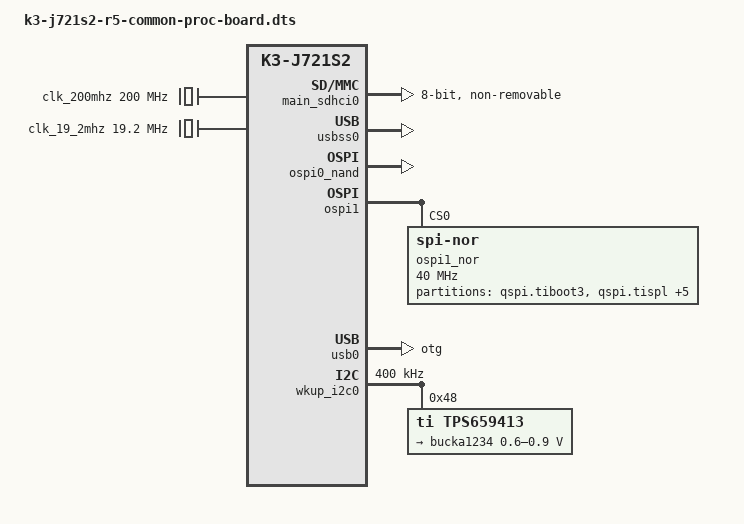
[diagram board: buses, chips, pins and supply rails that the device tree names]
// SPDX-License-Identifier: GPL-2.0
/*
 * Copyright (C) 2021 Texas Instruments Incorporated - https://www.ti.com/
 */

/dts-v1/;

#include "k3-j721s2-som-p0.dtsi"
#include "k3-j721s2-ddr-evm-lp4-4266.dtsi"
#include "k3-j721s2-ddr.dtsi"
#include "k3-j721s2-binman.dtsi"

/ {
	chosen {
		firmware-loader = &fs_loader0;
		stdout-path = &main_uart8;
		tick-timer = &timer1;
	};

	aliases {
		remoteproc0 = &sysctrler;
		remoteproc1 = &a72_0;
	};

	fs_loader0: fs_loader@0 {
		compatible = "u-boot,fs-loader";
		bootph-all;
	};

	a72_0: a72@0 {
		compatible = "ti,am654-rproc";
		reg = <0x0 0x00a90000 0x0 0x10>;
		power-domains = <&k3_pds 61 TI_SCI_PD_EXCLUSIVE>,
				<&k3_pds 202 TI_SCI_PD_EXCLUSIVE>,
				<&k3_pds 4 TI_SCI_PD_EXCLUSIVE>;
		resets = <&k3_reset 202 0>;
		clocks = <&k3_clks 61 1>;
		assigned-clocks = <&k3_clks 61 1>, <&k3_clks 202 0>;
		assigned-clock-parents = <&k3_clks 61 3>;
		assigned-clock-rates = <200000000>, <2000000000>;
		ti,sci = <&sms>;
		ti,sci-proc-id = <32>;
		ti,sci-host-id = <10>;
		bootph-pre-ram;
	};

	clk_200mhz: dummy_clock_200mhz {
		compatible = "fixed-clock";
		#clock-cells = <0>;
		clock-frequency = <200000000>;
		bootph-pre-ram;
	};

	clk_19_2mhz: dummy_clock_19_2mhz {
		compatible = "fixed-clock";
		#clock-cells = <0>;
		clock-frequency = <19200000>;
		bootph-pre-ram;
	};
};

&cbass_mcu_wakeup {
	sa3_secproxy: secproxy@44880000 {
		bootph-pre-ram;
		compatible = "ti,am654-secure-proxy";
		reg = <0x0 0x44880000 0x0 0x20000>,
		      <0x0 0x44860000 0x0 0x20000>,
		      <0x0 0x43600000 0x0 0x10000>;
		reg-names = "rt", "scfg", "target_data";
		#mbox-cells = <1>;
	};

	mcu_secproxy: secproxy@2a380000 {
		compatible = "ti,am654-secure-proxy";
		reg = <0x0 0x2a380000 0x0 0x80000>,
		      <0x0 0x2a400000 0x0 0x80000>,
		      <0x0 0x2a480000 0x0 0x80000>;
		reg-names = "rt", "scfg", "target_data";
		#mbox-cells = <1>;
		bootph-pre-ram;
	};

	sysctrler: sysctrler {
		compatible = "ti,am654-system-controller";
		mboxes= <&mcu_secproxy 4>, <&mcu_secproxy 5>, <&sa3_secproxy 5>;
		mbox-names = "tx", "rx", "boot_notify";
		bootph-pre-ram;
	};

	dm_tifs: dm-tifs {
		compatible = "ti,j721e-dm-sci";
		ti,host-id = <3>;
		ti,secure-host;
		mbox-names = "rx", "tx";
		mboxes= <&mcu_secproxy 21>,
			<&mcu_secproxy 23>;
		bootph-pre-ram;
	};

	wkup_vtm0: vtm@42040000 {
		compatible = "ti,j721s2-avs";
		reg = <0x0 0x42040000 0x0 0x350>,
		      <0x0 0x42050000 0x0 0x350>,
		      <0x0 0x43000300 0x0 0x10>;
		power-domains = <&k3_pds 180 TI_SCI_PD_SHARED>;
		#thermal-sensor-cells = <1>;
	};
};

&main_pmx0 {
	main_uart8_pins_default: main-uart8-pins-default {
		pinctrl-single,pins = <
			J721S2_IOPAD(0x040, PIN_INPUT, 14) /* (AC28) MCASP0_AXR0.UART8_CTSn */
			J721S2_IOPAD(0x044, PIN_OUTPUT, 14) /* (Y26) MCASP0_AXR1.UART8_RTSn */
			J721S2_IOPAD(0x0d0, PIN_INPUT, 11) /* (AF26) SPI0_CS1.UART8_RXD */
			J721S2_IOPAD(0x0d4, PIN_OUTPUT, 11) /* (AH27) SPI0_CLK.UART8_TXD */
		>;
	};

	main_mmc1_pins_default: main-mmc1-pins-default {
		pinctrl-single,pins = <
			J721S2_IOPAD(0x104, PIN_INPUT, 0) /* (P23) MMC1_CLK */
			J721S2_IOPAD(0x108, PIN_INPUT, 0) /* (N24) MMC1_CMD */
			J721S2_IOPAD(0x100, PIN_INPUT, 0) /* (###) MMC1_CLKLB */
			J721S2_IOPAD(0x0fc, PIN_INPUT, 0) /* (M23) MMC1_DAT0 */
			J721S2_IOPAD(0x0f8, PIN_INPUT, 0) /* (P24) MMC1_DAT1 */
			J721S2_IOPAD(0x0f4, PIN_INPUT, 0) /* (R24) MMC1_DAT2 */
			J721S2_IOPAD(0x0f0, PIN_INPUT, 0) /* (R22) MMC1_DAT3 */
			J721S2_IOPAD(0x0e8, PIN_INPUT, 8) /* (AE25) TIMER_IO0.MMC1_SDCD */
		>;
	};

	main_usbss0_pins_default: main-usbss0-pins-default {
		pinctrl-single,pins = <
			J721S2_IOPAD(0x0ec, PIN_OUTPUT, 6) /* (AG25) TIMER_IO1.USB0_DRVVBUS */
		>;
	};
};

&wkup_pmx0 {
	mcu_uart0_pins_default: mcu-uart0-pins-default {
		bootph-pre-ram;
		pinctrl-single,pins = <
			J721S2_WKUP_IOPAD(0x0f8, PIN_INPUT, 0) /* (B24) WKUP_GPIO0_14.MCU_UART0_CTSn */
			J721S2_WKUP_IOPAD(0x0fc, PIN_OUTPUT, 0) /* (D25) WKUP_GPIO0_15.MCU_UART0_RTSn */
			J721S2_WKUP_IOPAD(0x0f4, PIN_INPUT, 0) /* (C24) WKUP_GPIO0_13.MCU_UART0_RXD */
			J721S2_WKUP_IOPAD(0x0f0, PIN_OUTPUT, 0) /* (C25) WKUP_GPIO0_12.MCU_UART0_TXD */
		>;
	};

	wkup_i2c0_pins_default: wkup-i2c0-pins-default {
		bootph-pre-ram;
		pinctrl-single,pins = <
			J721S2_WKUP_IOPAD(0x100, PIN_INPUT, 0) /* (H24) WKUP_I2C0_SCL */
			J721S2_WKUP_IOPAD(0x104, PIN_INPUT, 0) /* (H27) WKUP_I2C0_SDA */
		>;
	};

	wkup_uart0_pins_default: wkup-uart0-pins-default {
		bootph-pre-ram;
		pinctrl-single,pins = <
			J721S2_WKUP_IOPAD(0x0d8, PIN_INPUT, 0) /* (E25) WKUP_GPIO0_6.WKUP_UART0_CTSn */
			J721S2_WKUP_IOPAD(0x0dc, PIN_OUTPUT, 0) /* (F28) WKUP_GPIO0_7.WKUP_UART0_RTSn */
			J721S2_WKUP_IOPAD(0x0b0, PIN_INPUT, 0) /* (D28) WKUP_UART0_RXD */
			J721S2_WKUP_IOPAD(0x0b4, PIN_OUTPUT, 0) /* (D27) WKUP_UART0_TXD */
		>;
	};

	mcu_fss0_ospi1_pins_default: mcu-fss0-ospi1-pins-default {
		pinctrl-single,pins = <
			J721S2_WKUP_IOPAD(0x040, PIN_OUTPUT, 0) /* (A19) MCU_OSPI1_CLK */
			J721S2_WKUP_IOPAD(0x05c, PIN_OUTPUT, 0) /* (D20) MCU_OSPI1_CSn0 */
			J721S2_WKUP_IOPAD(0x060, PIN_OUTPUT, 0) /* (C21) MCU_OSPI1_CSn1 */
			J721S2_WKUP_IOPAD(0x04c, PIN_INPUT, 0) /* (D21) MCU_OSPI1_D0 */
			J721S2_WKUP_IOPAD(0x050, PIN_INPUT, 0) /* (G20) MCU_OSPI1_D1 */
			J721S2_WKUP_IOPAD(0x054, PIN_INPUT, 0) /* (C20) MCU_OSPI1_D2 */
			J721S2_WKUP_IOPAD(0x058, PIN_INPUT, 0) /* (A20) MCU_OSPI1_D3 */
			J721S2_WKUP_IOPAD(0x048, PIN_INPUT, 0) /* (B19) MCU_OSPI1_DQS */
			J721S2_WKUP_IOPAD(0x044, PIN_INPUT, 0) /* (B20) MCU_OSPI1_LBCLKO */
		>;
	};

	wkup_gpio_pins_default: wkup_gpio_pins_default {
		pinctrl-single,pins = <
			J784S4_WKUP_IOPAD(0x0d8, PIN_INPUT, 7) /* (L37) WKUP_GPIO0_6 */
		>;
	};
};

&sms {
	mboxes= <&mcu_secproxy 8>, <&mcu_secproxy 6>, <&mcu_secproxy 5>;
	mbox-names = "tx", "rx", "notify";
	ti,host-id = <4>;
	ti,secure-host;
	bootph-pre-ram;
};

&wkup_uart0 {
	pinctrl-names = "default";
	pinctrl-0 = <&wkup_uart0_pins_default>;
};

&wkup_gpio0 {
	pinctrl-names = "default";
	pinctrl-0 = <&wkup_gpio_pins_default>;
};

&mcu_uart0 {
	pinctrl-names = "default";
	pinctrl-0 = <&mcu_uart0_pins_default>;
};

&main_uart8 {
	pinctrl-names = "default";
	pinctrl-0 = <&main_uart8_pins_default>;
};

&main_sdhci0 {
	/delete-property/ power-domains;
	/delete-property/ assigned-clocks;
	/delete-property/ assigned-clock-parents;
	clock-names = "clk_xin";
	clocks = <&clk_200mhz>;
	ti,driver-strength-ohm = <50>;
	non-removable;
	bus-width = <8>;
};

&main_sdhci1 {
	/delete-property/ power-domains;
	/delete-property/ assigned-clocks;
	/delete-property/ assigned-clock-parents;
	pinctrl-0 = <&main_mmc1_pins_default>;
	pinctrl-names = "default";
	clock-names = "clk_xin";
	clocks = <&clk_200mhz>;
	ti,driver-strength-ohm = <50>;
};

&usbss0 {
	status = "okay";
	pinctrl-names = "default";
	pinctrl-0 = <&main_usbss0_pins_default>;
	ti,vbus-divider;
	ti,usb2-only;
};

&ospi0 {
	reg = <0x0 0x47040000 0x0 0x100>,
	      <0x0 0x50000000 0x0 0x8000000>;
};

&ospi0_nand {
	status = "okay";
};

&ospi1 {
	pinctrl-names = "default";
	pinctrl-0 = <&mcu_fss0_ospi1_pins_default>;

	reg = <0x0 0x47050000 0x0 0x100>,
	      <0x0 0x58000000 0x0 0x8000000>;

	ospi1_nor: flash@0 {
		compatible = "jedec,spi-nor";
		reg = <0x0>;
		spi-tx-bus-width = <1>;
		spi-rx-bus-width = <4>;
		spi-max-frequency = <40000000>;
		cdns,tshsl-ns = <60>;
		cdns,tsd2d-ns = <60>;
		cdns,tchsh-ns = <60>;
		cdns,tslch-ns = <60>;
		cdns,read-delay = <2>;

		partitions {
			compatible = "fixed-partitions";
			#address-cells = <1>;
			#size-cells = <1>;

			partition@0 {
				label = "qspi.tiboot3";
				reg = <0x0 0x80000>;
			};

			partition@80000 {
				label = "qspi.tispl";
				reg = <0x80000 0x200000>;
			};

			partition@280000 {
				label = "qspi.u-boot";
				reg = <0x280000 0x400000>;
			};

			partition@680000 {
				label = "qspi.env";
				reg = <0x680000 0x40000>;
			};

			partition@6c0000 {
				label = "qspi.env.backup";
				reg = <0x6c0000 0x40000>;
			};

			partition@800000 {
				label = "qspi.rootfs";
				reg = <0x800000 0x37c0000>;
			};

			partition@3fc0000 {
				label = "qspi.phypattern";
				reg = <0x3fc0000 0x40000>;
			};
		};
	};
};

&usb0 {
	dr_mode = "otg";
	maximum-speed = "high-speed";
};

&mcu_ringacc {
	ti,sci = <&dm_tifs>;
};

&mcu_udmap {
	ti,sci = <&dm_tifs>;
};

&wkup_i2c0 {
	bootph-pre-ram;
	pinctrl-names = "default";
	pinctrl-0 = <&wkup_i2c0_pins_default>;
	clock-frequency = <400000>;

	tps659413: tps659413@48 {
		compatible = "ti,tps659413";
		reg = <0x48>;
		bootph-pre-ram;

		regulators: regulators {
			bootph-pre-ram;
			bucka1234: buck1234 {
				bootph-pre-ram;
				regulator-name = "vdd_cpu_avs";
				regulator-min-microvolt = <600000>;
				regulator-max-microvolt = <900000>;
				regulator-boot-on;
				regulator-always-on;
			};
		};

	esm: esm {
			compatible = "ti,tps659413-esm";
			bootph-pre-ram;
		};
	};
};

&wkup_vtm0 {
	vdd-supply-2 = <&bucka1234>;
	bootph-pre-ram;
};

#include "k3-j721s2-common-proc-board-u-boot.dtsi"
